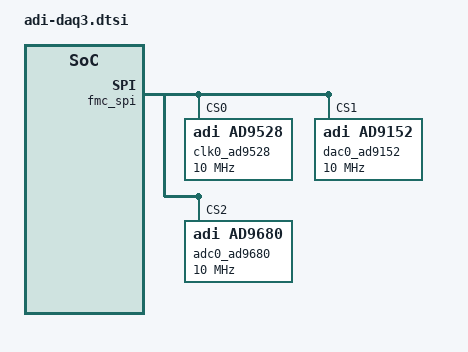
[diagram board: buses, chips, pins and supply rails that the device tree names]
#include <dt-bindings/iio/frequency/ad9528.h>

&fmc_spi {
	clk0_ad9528: ad9528@0 {
		#address-cells = <1>;
		#size-cells = <0>;
		#clock-cells = <1>;
		compatible = "adi,ad9528";

		spi-cpol;
		spi-cpha;
		spi-max-frequency = <10000000>;
		adi,spi-3wire-enable;
		reg = <0>;

		clock-output-names = "ad9528_out0", "ad9528_out1", "ad9528_out2", "ad9528_out3", "ad9528_out4", "ad9528_out5", "ad9528_out6", "ad9528_out7", "ad9528_out8", "ad9528_out9", "ad9528_out10", "ad9528_out11", "ad9528_out12", "ad9528_out13";
		adi,vcxo-freq = <100000000>;

		/* PLL1 config */
		adi,pll1-bypass-enable;
		adi,osc-in-diff-enable;

		/* PLL2 config */
		/*
		 * Valid ranges based on VCO locking range:
		 *   1150.000 MHz - 1341.666 MHz
		 *    862.500 MHz - 1006.250 MHz
		 *    690.000 MHz -  805.000 MHz
		 */
		adi,pll2-m1-frequency = <1233333333>;
		adi,pll2-charge-pump-current-nA = <35000>;

		/* SYSREF config */
		adi,sysref-src = <SYSREF_SRC_INTERNAL>;
		adi,sysref-k-div = <128>;

		adi,rpole2 = <RPOLE2_900_OHM>;
		adi,rzero = <RZERO_1850_OHM>;
		adi,cpole1 = <CPOLE1_16_PF>;

		ad9528_0_c2: channel@2 {
			reg = <2>;
			adi,extended-name = "DAC_CLK";
			adi,driver-mode = <DRIVER_MODE_LVDS>;
			adi,divider-phase = <0>;
			adi,channel-divider = <1>;
			adi,signal-source = <SOURCE_VCO>;
		};

		ad9528_0_c4: channel@4 {
			reg = <4>;
			adi,extended-name = "DAC_CLK_FMC";
			adi,driver-mode = <DRIVER_MODE_LVDS>;
			adi,divider-phase = <0>;
			adi,channel-divider = <2>;
			adi,signal-source = <SOURCE_VCO>;
		};

		ad9528_0_c5: channel@5 {
			reg = <5>;
			adi,extended-name = "DAC_SYSREF";
			adi,driver-mode = <DRIVER_MODE_LVDS>;
			adi,divider-phase = <0>;
			adi,channel-divider = <1>;
			adi,signal-source = <SOURCE_SYSREF_VCO>;
		};

		ad9528_0_c6: channel@6 {
			reg = <6>;
			adi,extended-name = "CLKD_DAC_SYSREF";
			adi,driver-mode = <DRIVER_MODE_LVDS>;
			adi,divider-phase = <0>;
			adi,channel-divider = <2>;
			adi,signal-source = <SOURCE_SYSREF_VCO>;
		};

		ad9528_0_c7: channel@7 {
			reg = <7>;
			adi,extended-name = "CLKD_ADC_SYSREF";
			adi,driver-mode = <DRIVER_MODE_LVDS>;
			adi,divider-phase = <0>;
			adi,channel-divider = <2>;
			adi,signal-source = <SOURCE_SYSREF_VCO>;
		};

		ad9528_0_c8: channel@8 {
			reg = <8>;
			adi,extended-name = "ADC_SYSREF";
			adi,driver-mode = <DRIVER_MODE_LVDS>;
			adi,divider-phase = <0>;
			adi,channel-divider = <1>;
			adi,signal-source = <SOURCE_SYSREF_VCO>;
		};

		ad9528_0_c9: channel@9 {
			reg = <9>;
			adi,extended-name = "ADC_CLK_FMC";
			adi,driver-mode = <DRIVER_MODE_LVDS>;
			adi,divider-phase = <0>;
			adi,channel-divider = <2>;
			adi,signal-source = <SOURCE_VCO>;
		};

		ad9528_0_c13: channel@13 {
			reg = <13>;
			adi,extended-name = "ADC_CLK";
			adi,driver-mode = <DRIVER_MODE_LVDS>;
			adi,divider-phase = <0>;
			adi,channel-divider = <1>;
			adi,signal-source = <SOURCE_VCO>;
		};
	};

	dac0_ad9152: ad9152@1 {
		compatible = "adi,ad9152";

		spi-cpol;
		spi-cpha;
		spi-max-frequency = <10000000>;
		adi,spi-3wire-enable;
		reg = <1>;

		clocks = <&axi_ad9152_jesd>, <&clk0_ad9528 2>, <&clk0_ad9528 5>;
		clock-names = "jesd_dac_clk", "dac_clk", "dac_sysref";
	};

	adc0_ad9680: ad9680@2 {
		compatible = "adi,ad9680";

		spi-cpol;
		spi-cpha;
		spi-max-frequency = <10000000>;
		adi,spi-3wire-enable;
		reg = <2>;

		/* Content of Registers: 0x16, 0x18, 0x19, 0x1A, 0x30, 0x11A, 0x934, 0x935 */
		adi,sfdr-optimization-config = <0xE 0xA0 0x50 0x09 0x18 0x00 0x1F 0x04>;

		clocks = <&axi_ad9680_jesd>, <&clk0_ad9528 13>, <&clk0_ad9528 8>;
		clock-names = "jesd_adc_clk", "adc_clk", "adc_sysref";
	};
};
